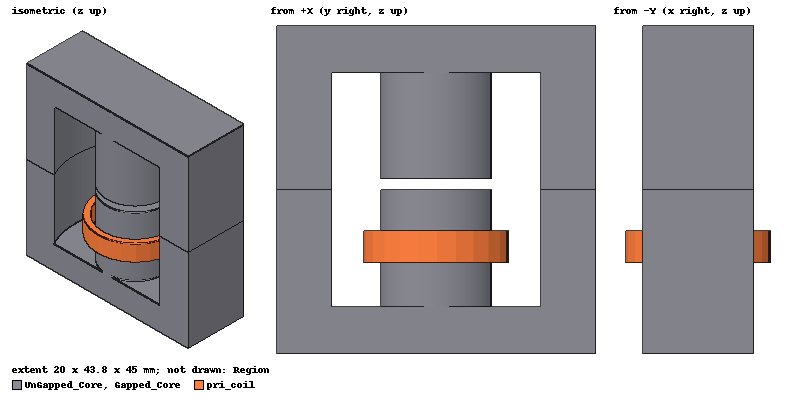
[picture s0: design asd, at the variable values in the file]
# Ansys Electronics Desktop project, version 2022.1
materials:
  Ferrite_N87_ETD45_Coreloss: permittivity=12 permeability=1650 conductivity=0.01 core_loss_type="B-P Curve" mass_density=4600 core_loss_equiv_cut_depth=0.001meter core_loss_curves{PUnit=kw/m^3 BUnit=mTesla Frequency=100kHz Thickness=0.5mm BPCoordinates{DimUnits("", "") Points(0, 0, 30, 2, 40, 4, 50, 8, 60, 15, 70, 20, 80, 30, 90, 40, 100, 50, 200, 300)}}
  copper: permeability=0.999991 conductivity=58000000
  vacuum: permittivity=1

design asd (Maxwell 3D, Transient, model units mm)
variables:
  air_gap = 1.5mm
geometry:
  Core_A = box(corner=(0mm, 0mm, 0mm), size=(15.2mm, 43.8mm, 22.5mm))
  Cylinder1 = cylinder(axis=Z, base_centre=(7.6mm, 21.9mm, 6.4mm), radius=16.25mm, height=16.1mm)
  Core_A.subtract(Cylinder1)
  UnGapped_Core [Ferrite_N87_ETD45_Coreloss] = cylinder(axis=Z, base_centre=(7.6mm, 21.9mm, 0mm), radius=7.6mm, height=22.5mm)
  UnGapped_Core.unite(Core_A)
  Gapped_Core [Ferrite_N87_ETD45_Coreloss] = box(corner=(0mm, 0mm, 45mm), size=(15.2mm, 43.8mm, -22.5mm))
  Cylinder2 = cylinder(axis=Z, base_centre=(7.6mm, 21.9mm, 22.5mm), radius=16.25mm, height=16.1mm)
  Gapped_Core.subtract(Cylinder2)
  Cylinder3 = cylinder(axis=Z, base_centre=(7.6mm, 21.9mm, 45mm), radius=7.6mm, height=-22.5mm + air_gap)
  Gapped_Core.unite(Cylinder3)
  Region [vacuum] = region(percentage_offset=100 on all sides)
  B_Area [non-model] = circle(normal=Z, centre=(7.6mm, 21.9mm, 22.5mm), radius=40mm)
  point Point1 = (7.6mm, 21.9mm, 22.5mm)
  Polyline1 [non-model] = polyline((8mm, 0mm, 22.5mm) (8mm, 44mm, 22.5mm))
  Polyline2 [non-model] = polyline((7mm, 14mm, 22.5mm) (7mm, 30mm, 22.5mm))
  coordinate_system RelativeCS1 = origin=(7.6mm, 0mm, 0mm) x=(1mm, 0mm, 0mm) y=(0mm, 1mm, 0mm)
  RegularPolyhedron1 = polyhedron(axis=Z, centre=(7.6mm, 21.9mm, 12.5mm), first_corner=(7.6mm, 30.5mm, 12.5mm), sides=24, height=4.375mm)
  pri_coil [copper] = polyhedron(axis=Z, centre=(7.6mm, 21.9mm, 12.5mm), first_corner=(7.6mm, 31.9mm, 12.5mm), sides=24, height=4.375mm)
  pri_coil.subtract(RegularPolyhedron1)
  pri_term [copper] = pri_coil.section(plane=YZ) in RelativeCS1
  pri_term.separate_bodies()
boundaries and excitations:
  pri_coil_term: Coil Terminal Objects=pri_term Conductor_number=69 Winding=Winding1 Point_out_of_terminal=false
  Winding1: Winding Group Type=Current IsSolid=false Current="0.522 + 0.548*sin(628318.531*time) + 0.828*cos(628318.531*time) + 0.564*sin(1256637.062*time) + 0.326*cos(1256637.062*time) + 0.417*sin(1884955.5929999999*time) + -0.12*cos(1884955.5929999999*time) + 0.09*sin(2513274.124*time) + -0.262*cos(2513274.124*time) + -0.135*sin(3141592.655*time) + -0.121*cos(3141592.655*time) + -0.123*sin(3769911.1859999998*time) + 0.081*cos(3769911.1859999998*time) + 0.029*sin(4398229.717*time) + 0.142*cos(4398229.717*time) + 0.132*sin(5026548.248*time) + 0.042*cos(5026548.248*time) + 0.091*sin(5654866.778999999*time) + -0.081*cos(5654866.778999999*time) + -0.025*sin(6283185.31*time) + -0.098*cos(6283185.31*time) + -0.085*sin(6911503.841*time) + -0.012*cos(6911503.841*time) + -0.039*sin(7539822.3719999995*time) + 0.071*cos(7539822.3719999995*time) + 0.048*sin(8168140.902999999*time) + 0.065*cos(8168140.902999999*time) + 0.076*sin(8796459.434*time) + -0.011*cos(8796459.434*time) + 0.024*sin(9424777.965*time) + -0.065*cos(9424777.965*time) + -0.044*sin(10053096.496*time) + -0.044*cos(10053096.496*time) + -0.053*sin(10681415.026999999*time) + 0.022*cos(10681415.026999999*time) + -0.0*sin(11309733.557999998*time) + 0.056*cos(11309733.557999998*time) + 0.049*sin(11938052.089*time) + 0.025*cos(11938052.089*time) + 0.043*sin(12566370.62*time) + -0.031*cos(12566370.62*time)" ParallelBranchesNum=1
  core loss on: UnGapped_Core, Gapped_Core
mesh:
  Length1: LengthBased RefineInside Objects=[Gapped_Core, UnGapped_Core] NumMaxElem=10000
  Length2: LengthBased RefineInside Objects=pri_coil NumMaxElem=1000
  initial mesh: GlobalCurvilinear{Apply}
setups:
  Setup1: Transient NonlinearSolverResidual=1e-06 ScalarPotential="Second Order" StopTime=500us TimeStep=1us
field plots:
  Mesh1: MeshPlots in Gapped_Core, UnGapped_Core on Setup1 : Transient at Time=-1
  Mesh2: MeshPlots in Gapped_Core on Setup1 : Transient at Time=-1
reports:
  Winding Plot 1: InputCurrent(Winding1) vs Time on Setup1 : Transient
